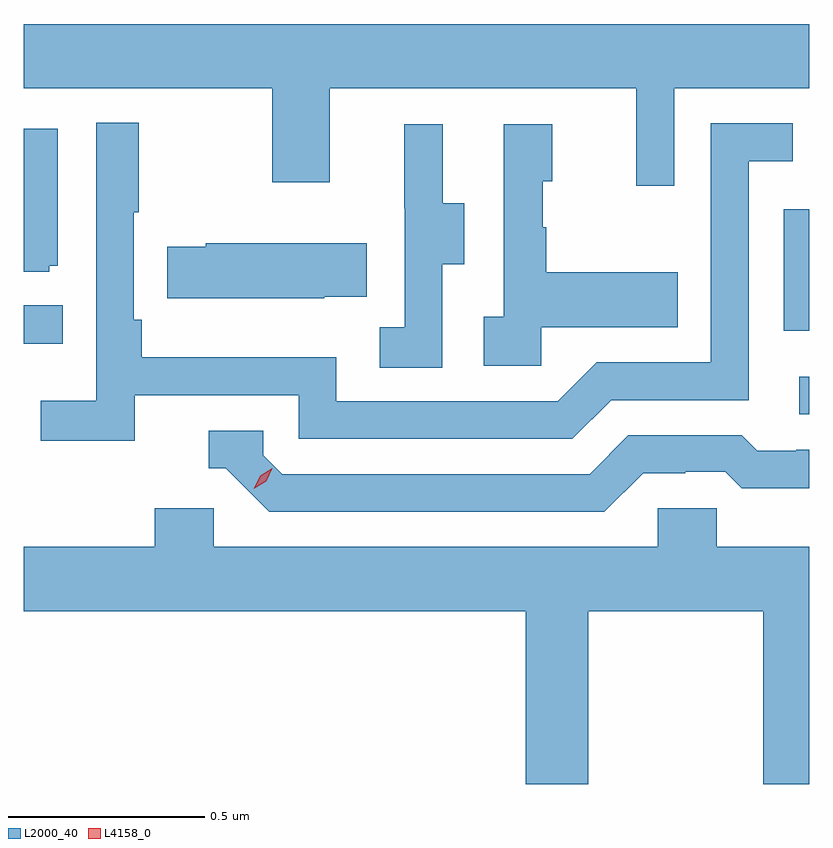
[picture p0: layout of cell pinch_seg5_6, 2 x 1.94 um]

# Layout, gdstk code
import gdstk
lib = gdstk.Library(unit=1e-6, precision=1e-09)
def R(c, l, rs):  # rectangles x0, y0, x1, y1
    for r in rs: c.add(gdstk.rectangle(r[:2], r[2:], *l))
def P(c, l, *ps):  # polygons
    for p in ps: c.add(gdstk.Polygon(p, *l))
L2000_40 = (2000, 40)
L4158_0 = (4158, 0)

pinch_seg5_6 = lib.new_cell('pinch_seg5_6')
R(pinch_seg5_6, L2000_40, [(1131.315,898.554,1131.34,898.65), (1129.34,898.733,1129.439,898.832), (1131.276,898.767,1131.34,899.076)])
P(pinch_seg5_6, L2000_40, [(1130.997,899.384),(1131.34,899.384),(1131.34,899.548),(1129.34,899.548),(1129.34,899.384),(1129.972,899.384),(1129.972,899.145),(1130.119,899.145),(1130.119,899.384),(1130.9,899.384),(1130.9,899.136),(1130.997,899.136)],
  [(1129.622,898.602),(1130.04,898.602),(1130.04,898.491),(1130.737,898.491),(1130.836,898.59),(1131.186,898.59),(1131.186,899.199),(1131.299,899.199),(1131.299,899.295),(1131.09,899.295),(1131.09,898.686),(1130.799,898.686),(1130.7,898.587),(1130.136,898.587),(1130.136,898.699),(1129.64,898.699),(1129.64,898.795),(1129.62,898.795),(1129.62,899.068),(1129.633,899.068),(1129.633,899.296),(1129.524,899.296),(1129.524,898.588),(1129.383,898.588),(1129.383,898.486),(1129.622,898.486)],
  [(1130.658,898.775),(1131.005,898.775),(1131.005,898.915),(1130.671,898.915),(1130.671,899.03),(1130.661,899.03),(1130.661,899.148),(1130.686,899.148),(1130.686,899.293),(1130.562,899.293),(1130.562,898.802),(1130.511,898.802),(1130.511,898.677),(1130.658,898.677)],
  [(1130.406,898.936),(1130.461,898.936),(1130.461,899.091),(1130.407,899.091),(1130.407,899.293),(1130.309,899.293),(1130.309,899.079),(1130.31,899.079),(1130.31,898.775),(1130.247,898.775),(1130.247,898.672),(1130.406,898.672)],
  [(1129.404,898.932),(1129.426,898.932),(1129.426,899.281),(1129.34,899.281),(1129.34,898.917),(1129.404,898.917)],
  [(1130.105,898.853),(1130.213,898.853),(1130.213,898.99),(1129.803,898.99),(1129.803,898.98),(1129.705,898.98),(1129.705,898.85),(1130.105,898.85)],
  [(1130.917,898.404),(1131.024,898.404),(1131.024,898.407),(1131.127,898.407),(1131.169,898.365),(1131.34,898.365),(1131.34,898.464),(1131.307,898.464),(1131.307,898.461),(1131.208,898.461),(1131.169,898.5),(1130.88,898.5),(1130.781,898.401),(1129.998,898.401),(1129.95,898.449),(1129.95,898.512),(1129.811,898.512),(1129.811,898.416),(1129.854,898.416),(1129.965,898.305),(1130.818,898.305)],
  [(1130.778,898.052),(1131.223,898.052),(1131.223,897.612),(1131.34,897.612),(1131.34,898.216),(1131.105,898.216),(1131.105,898.314),(1130.955,898.314),(1130.955,898.216),(1129.824,898.216),(1129.824,898.314),(1129.673,898.314),(1129.673,898.216),(1129.34,898.216),(1129.34,898.052),(1130.618,898.052),(1130.618,897.612),(1130.778,897.612)])
P(pinch_seg5_6, L4158_0, [(1129.925,898.364),(1129.925,898.364),(1129.942,898.397),(1129.973,898.416),(1129.973,898.416),(1129.973,898.416),(1129.957,898.383),(1129.926,898.364)])

lib.write_gds('pinch_seg5_6.gds')
